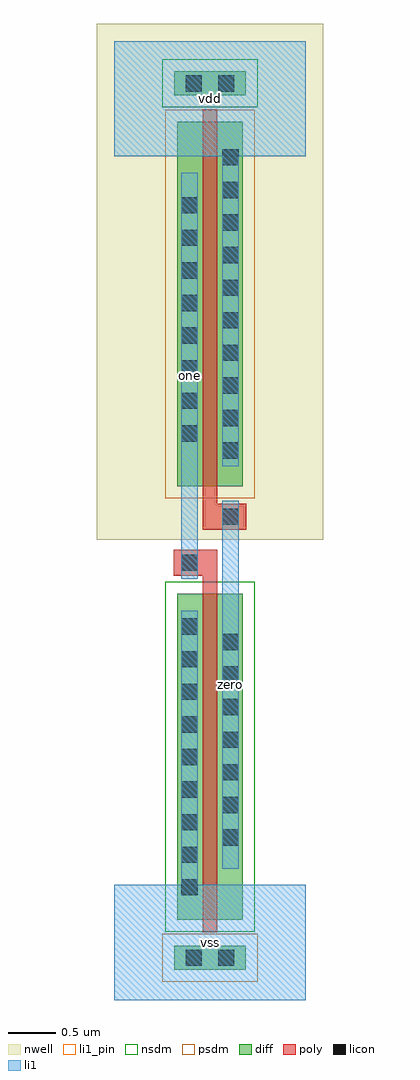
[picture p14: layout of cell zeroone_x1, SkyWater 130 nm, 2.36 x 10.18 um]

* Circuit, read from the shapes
.subckt zeroone_x1 one vdd vss zero
XM1 zero one vss VSUBS sky130_fd_pr__nfet_01v8 w=3.4 l=0.15
XM2 vdd zero one n1 sky130_fd_pr__pfet_01v8 w=3.8 l=0.15
.ends

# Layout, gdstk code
import gdstk
lib = gdstk.Library(unit=1e-6, precision=1e-09)
def R(c, l, rs):  # rectangles x0, y0, x1, y1
    for r in rs: c.add(gdstk.rectangle(r[:2], r[2:], *l))
def A(c, l, x, y, w, h, nx, ny, dx, dy):  # array of equal rectangles
    R(c, l, [(x+i*dx, y+j*dy, x+i*dx+w, y+j*dy+h) for i in range(nx) for j in range(ny)])
def P(c, l, *ps):  # polygons
    for p in ps: c.add(gdstk.Polygon(p, *l))
nwell = (64, 20)
diff = (65, 20)
poly = (66, 20)
licon = (66, 44)
li1_pin = (67, 16)
li1 = (67, 20)
nsdm = (93, 44)
psdm = (94, 20)

zeroone_x1 = lib.new_cell('zeroone_x1')
R(zeroone_x1, nwell, [(-0.18,4.8,2.18,10.18)])
R(zeroone_x1, diff, [(0.625,0.315,1.375,0.565), (0.66,0.835,1.34,4.235), (0.66,5.36,1.34,9.16), (0.625,9.435,1.375,9.685)])
P(zeroone_x1, poly, [(0.925,0.705),(0.925,4.425),(0.62,4.425),(0.62,4.695),(1.075,4.695),(1.075,0.705)],
  [(0.925,4.905),(0.925,9.29),(1.075,9.29),(1.075,5.175),(1.38,5.175),(1.38,4.905)])
A(zeroone_x1, licon, 0.7, 1.09, 0.17, 0.17, 1, 9, 0, 0.34)
A(zeroone_x1, licon, 1.13, 1.61, 0.17, 0.17, 1, 7, 0, 0.34)
A(zeroone_x1, licon, 1.13, 5.645, 0.17, 0.17, 1, 10, 0, 0.34)
A(zeroone_x1, licon, 0.7, 5.825, 0.17, 0.17, 1, 8, 0, 0.34)
R(zeroone_x1, licon, [(0.745,0.355,0.915,0.525), (1.085,0.355,1.255,0.525), (0.7,4.475,0.87,4.645), (1.13,4.955,1.3,5.125), (0.745,9.475,0.915,9.645), (1.085,9.475,1.255,9.645)])
R(zeroone_x1, li1_pin, [(0,0,2,1.2), (1.13,1.37,1.3,5.205), (0.7,4.395,0.87,8.63), (0,8.8,2,10)])
R(zeroone_x1, li1, [(1.13,1.37,1.3,5.205), (0.7,4.395,0.87,8.63)])
P(zeroone_x1, li1, [(0,0),(0,1.2),(0.7,1.2),(0.7,4.06),(0.87,4.06),(0.87,1.2),(2,1.2),(2,0)],
  [(1.13,5.565),(1.13,8.8),(0,8.8),(0,10),(2,10),(2,8.8),(1.3,8.8),(1.3,5.565)])
R(zeroone_x1, nsdm, [(0.535,0.71,1.465,4.36), (0.5,9.31,1.5,9.81)])
R(zeroone_x1, psdm, [(0.5,0.19,1.5,0.69), (0.535,5.235,1.465,9.285)])
zeroone_x1.add(gdstk.Label('vdd', (1,9.4), layer=67, texttype=16))
zeroone_x1.add(gdstk.Label('vss', (1,0.6), layer=67, texttype=16))
zeroone_x1.add(gdstk.Label('zero', (1.215,3.288), layer=67, texttype=16))
zeroone_x1.add(gdstk.Label('one', (0.785,6.513), layer=67, texttype=16))
zeroone_x1.add(gdstk.Label('vdd', (1,9.4), layer=67, texttype=16))
zeroone_x1.add(gdstk.Label('vss', (1,0.6), layer=67, texttype=16))
zeroone_x1.add(gdstk.Label('zero', (1.215,3.288), layer=67, texttype=16))
zeroone_x1.add(gdstk.Label('one', (0.785,6.513), layer=67, texttype=16))

lib.write_gds('zeroone_x1.gds')
